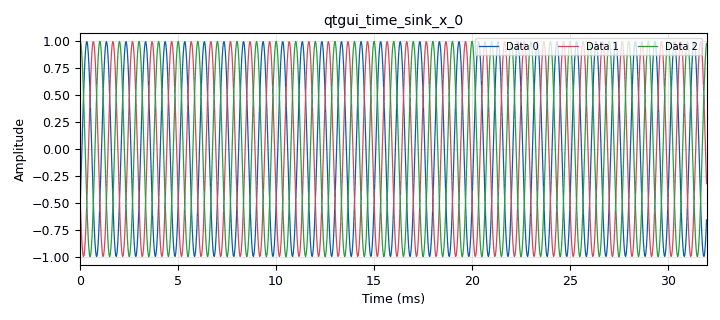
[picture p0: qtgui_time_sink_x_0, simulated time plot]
<?xml version='1.0' encoding='utf-8'?>
<?grc format='1' created='3.7.11'?>
<flow_graph>
<block>
<key>options</key>
<param><key>id</key><value>top_block</value></param>
<param><key>author</key><value>Maurice Woods</value></param>
<param><key>generate_options</key><value>qt_gui</value></param>
<param><key>title</key><value>Lab 03</value></param>
</block>
<block>
<key>variable_qtgui_range</key>
<param><key>id</key><value>f0</value></param>
<param><key>value</key><value>1000</value></param>
<param><key>gui_hint</key><value>0,0,1,1</value></param>
<param><key>orient</key><value>Qt.Horizontal</value></param>
<param><key>start</key><value>-5000</value></param>
<param><key>step</key><value>1</value></param>
<param><key>stop</key><value>5000</value></param>
</block>
<block>
<key>variable</key>
<param><key>id</key><value>samp_rate</value></param>
<param><key>value</key><value>32000</value></param>
</block>
<block>
<key>analog_sig_source_x</key>
<param><key>id</key><value>analog_sig_source_x_0</value></param>
<param><key>amp</key><value>1</value></param>
<param><key>freq</key><value>f0</value></param>
<param><key>offset</key><value>0</value></param>
<param><key>type</key><value>complex</value></param>
<param><key>samp_rate</key><value>samp_rate</value></param>
<param><key>waveform</key><value>analog.GR_COS_WAVE</value></param>
</block>
<block>
<key>analog_sig_source_x</key>
<param><key>id</key><value>analog_sig_source_x_0_0</value></param>
<param><key>amp</key><value>1</value></param>
<param><key>freq</key><value>f0</value></param>
<param><key>offset</key><value>0</value></param>
<param><key>type</key><value>complex</value></param>
<param><key>samp_rate</key><value>samp_rate</value></param>
<param><key>waveform</key><value>analog.GR_COS_WAVE</value></param>
</block>
<block>
<key>analog_sig_source_x</key>
<param><key>id</key><value>analog_sig_source_x_0_1</value></param>
<param><key>amp</key><value>1</value></param>
<param><key>freq</key><value>f0</value></param>
<param><key>offset</key><value>0</value></param>
<param><key>type</key><value>complex</value></param>
<param><key>samp_rate</key><value>samp_rate</value></param>
<param><key>waveform</key><value>analog.GR_COS_WAVE</value></param>
</block>
<block>
<key>blocks_add_const_vxx</key>
<param><key>id</key><value>blocks_add_const_vxx_0</value></param>
<param><key>const</key><value>0</value></param>
<param><key>type</key><value>float</value></param>
</block>
<block>
<key>blocks_add_const_vxx</key>
<param><key>id</key><value>blocks_add_const_vxx_0_0</value></param>
<param><key>const</key><value>120*3.14159/180</value></param>
<param><key>type</key><value>float</value></param>
</block>
<block>
<key>blocks_add_const_vxx</key>
<param><key>id</key><value>blocks_add_const_vxx_0_1</value></param>
<param><key>const</key><value>2*120*3.14159/180</value></param>
<param><key>type</key><value>float</value></param>
</block>
<block>
<key>blocks_complex_to_arg</key>
<param><key>id</key><value>blocks_complex_to_arg_0</value></param>
<param><key>_enabled</key><value>0</value></param>
</block>
<block>
<key>blocks_complex_to_float</key>
<param><key>id</key><value>blocks_complex_to_float_0</value></param>
</block>
<block>
<key>blocks_complex_to_float</key>
<param><key>id</key><value>blocks_complex_to_float_0_0</value></param>
</block>
<block>
<key>blocks_complex_to_float</key>
<param><key>id</key><value>blocks_complex_to_float_0_0_0</value></param>
</block>
<block>
<key>blocks_complex_to_magphase</key>
<param><key>id</key><value>blocks_complex_to_magphase_0</value></param>
</block>
<block>
<key>blocks_complex_to_magphase</key>
<param><key>id</key><value>blocks_complex_to_magphase_0_0</value></param>
</block>
<block>
<key>blocks_complex_to_magphase</key>
<param><key>id</key><value>blocks_complex_to_magphase_0_1</value></param>
</block>
<block>
<key>blocks_magphase_to_complex</key>
<param><key>id</key><value>blocks_magphase_to_complex_0</value></param>
</block>
<block>
<key>blocks_magphase_to_complex</key>
<param><key>id</key><value>blocks_magphase_to_complex_0_0</value></param>
</block>
<block>
<key>blocks_magphase_to_complex</key>
<param><key>id</key><value>blocks_magphase_to_complex_0_1</value></param>
</block>
<block>
<key>blocks_null_sink</key>
<param><key>id</key><value>blocks_null_sink_0</value></param>
<param><key>bus_conns</key><value>[[0,],]</value></param>
<param><key>type</key><value>float</value></param>
<param><key>num_inputs</key><value>3</value></param>
</block>
<block>
<key>blocks_throttle</key>
<param><key>id</key><value>blocks_throttle_0</value></param>
<param><key>samples_per_second</key><value>samp_rate</value></param>
<param><key>type</key><value>float</value></param>
</block>
<block>
<key>blocks_throttle</key>
<param><key>id</key><value>blocks_throttle_0_0</value></param>
<param><key>samples_per_second</key><value>samp_rate</value></param>
<param><key>type</key><value>float</value></param>
</block>
<block>
<key>blocks_throttle</key>
<param><key>id</key><value>blocks_throttle_0_1</value></param>
<param><key>samples_per_second</key><value>samp_rate</value></param>
<param><key>type</key><value>float</value></param>
</block>
<block>
<key>qtgui_time_sink_x</key>
<param><key>id</key><value>qtgui_time_sink_x_0</value></param>
<param><key>gui_hint</key><value>1,0,1,1</value></param>
<param><key>grid</key><value>True</value></param>
<param><key>color1</key><value>"blue"</value></param>
<param><key>label1</key><value></value></param>
<param><key>color2</key><value>"red"</value></param>
<param><key>label2</key><value></value></param>
<param><key>color3</key><value>"green"</value></param>
<param><key>label3</key><value></value></param>
<param><key>nconnections</key><value>3</value></param>
<param><key>size</key><value>1024</value></param>
<param><key>srate</key><value>samp_rate</value></param>
<param><key>type</key><value>float</value></param>
</block>
<connection><source_block_id>analog_sig_source_x_0</source_block_id><sink_block_id>blocks_complex_to_magphase_0</sink_block_id><source_key>0</source_key><sink_key>0</sink_key></connection>
<connection><source_block_id>analog_sig_source_x_0_0</source_block_id><sink_block_id>blocks_complex_to_magphase_0_0</sink_block_id><source_key>0</source_key><sink_key>0</sink_key></connection>
<connection><source_block_id>analog_sig_source_x_0_1</source_block_id><sink_block_id>blocks_complex_to_magphase_0_1</sink_block_id><source_key>0</source_key><sink_key>0</sink_key></connection>
<connection><source_block_id>blocks_add_const_vxx_0</source_block_id><sink_block_id>blocks_magphase_to_complex_0</sink_block_id><source_key>0</source_key><sink_key>1</sink_key></connection>
<connection><source_block_id>blocks_add_const_vxx_0_0</source_block_id><sink_block_id>blocks_magphase_to_complex_0_0</sink_block_id><source_key>0</source_key><sink_key>1</sink_key></connection>
<connection><source_block_id>blocks_add_const_vxx_0_1</source_block_id><sink_block_id>blocks_magphase_to_complex_0_1</sink_block_id><source_key>0</source_key><sink_key>1</sink_key></connection>
<connection><source_block_id>blocks_complex_to_float_0</source_block_id><sink_block_id>blocks_null_sink_0</sink_block_id><source_key>1</source_key><sink_key>2</sink_key></connection>
<connection><source_block_id>blocks_complex_to_float_0</source_block_id><sink_block_id>blocks_throttle_0_1</sink_block_id><source_key>0</source_key><sink_key>0</sink_key></connection>
<connection><source_block_id>blocks_complex_to_float_0_0</source_block_id><sink_block_id>blocks_null_sink_0</sink_block_id><source_key>1</source_key><sink_key>1</sink_key></connection>
<connection><source_block_id>blocks_complex_to_float_0_0</source_block_id><sink_block_id>blocks_throttle_0_0</sink_block_id><source_key>0</source_key><sink_key>0</sink_key></connection>
<connection><source_block_id>blocks_complex_to_float_0_0_0</source_block_id><sink_block_id>blocks_null_sink_0</sink_block_id><source_key>1</source_key><sink_key>0</sink_key></connection>
<connection><source_block_id>blocks_complex_to_float_0_0_0</source_block_id><sink_block_id>blocks_throttle_0</sink_block_id><source_key>0</source_key><sink_key>0</sink_key></connection>
<connection><source_block_id>blocks_complex_to_magphase_0</source_block_id><sink_block_id>blocks_magphase_to_complex_0</sink_block_id><source_key>0</source_key><sink_key>0</sink_key></connection>
<connection><source_block_id>blocks_complex_to_magphase_0</source_block_id><sink_block_id>blocks_add_const_vxx_0</sink_block_id><source_key>1</source_key><sink_key>0</sink_key></connection>
<connection><source_block_id>blocks_complex_to_magphase_0_0</source_block_id><sink_block_id>blocks_magphase_to_complex_0_0</sink_block_id><source_key>0</source_key><sink_key>0</sink_key></connection>
<connection><source_block_id>blocks_complex_to_magphase_0_0</source_block_id><sink_block_id>blocks_add_const_vxx_0_0</sink_block_id><source_key>1</source_key><sink_key>0</sink_key></connection>
<connection><source_block_id>blocks_complex_to_magphase_0_1</source_block_id><sink_block_id>blocks_magphase_to_complex_0_1</sink_block_id><source_key>0</source_key><sink_key>0</sink_key></connection>
<connection><source_block_id>blocks_complex_to_magphase_0_1</source_block_id><sink_block_id>blocks_add_const_vxx_0_1</sink_block_id><source_key>1</source_key><sink_key>0</sink_key></connection>
<connection><source_block_id>blocks_magphase_to_complex_0</source_block_id><sink_block_id>blocks_complex_to_float_0</sink_block_id><source_key>0</source_key><sink_key>0</sink_key></connection>
<connection><source_block_id>blocks_magphase_to_complex_0_0</source_block_id><sink_block_id>blocks_complex_to_float_0_0</sink_block_id><source_key>0</source_key><sink_key>0</sink_key></connection>
<connection><source_block_id>blocks_magphase_to_complex_0_1</source_block_id><sink_block_id>blocks_complex_to_float_0_0_0</sink_block_id><source_key>0</source_key><sink_key>0</sink_key></connection>
<connection><source_block_id>blocks_throttle_0</source_block_id><sink_block_id>qtgui_time_sink_x_0</sink_block_id><source_key>0</source_key><sink_key>0</sink_key></connection>
<connection><source_block_id>blocks_throttle_0_0</source_block_id><sink_block_id>qtgui_time_sink_x_0</sink_block_id><source_key>0</source_key><sink_key>1</sink_key></connection>
<connection><source_block_id>blocks_throttle_0_1</source_block_id><sink_block_id>qtgui_time_sink_x_0</sink_block_id><source_key>0</source_key><sink_key>2</sink_key></connection>
</flow_graph>
